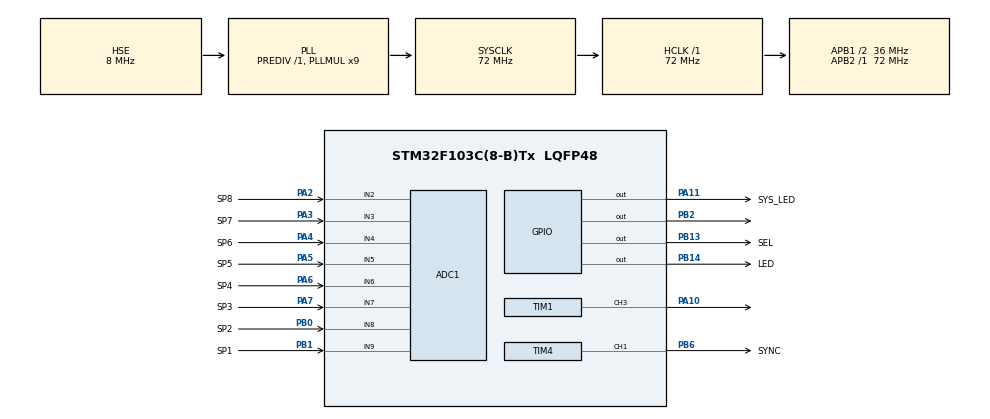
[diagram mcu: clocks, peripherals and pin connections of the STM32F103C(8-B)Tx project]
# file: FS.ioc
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ADC1.Channel-0\#ChannelRegularConversion=ADC_CHANNEL_2
ADC1.Channel-1\#ChannelRegularConversion=ADC_CHANNEL_3
ADC1.Channel-2\#ChannelRegularConversion=ADC_CHANNEL_4
ADC1.Channel-3\#ChannelRegularConversion=ADC_CHANNEL_5
ADC1.Channel-4\#ChannelRegularConversion=ADC_CHANNEL_6
ADC1.Channel-5\#ChannelRegularConversion=ADC_CHANNEL_7
ADC1.Channel-6\#ChannelRegularConversion=ADC_CHANNEL_8
ADC1.Channel-7\#ChannelRegularConversion=ADC_CHANNEL_9
ADC1.ContinuousConvMode=ENABLE
ADC1.NbrOfConversion=8
ADC1.NbrOfConversionFlag=1
ADC1.Rank-0\#ChannelRegularConversion=1
ADC1.Rank-1\#ChannelRegularConversion=2
ADC1.Rank-2\#ChannelRegularConversion=3
ADC1.Rank-3\#ChannelRegularConversion=4
ADC1.Rank-4\#ChannelRegularConversion=5
ADC1.Rank-5\#ChannelRegularConversion=6
ADC1.Rank-6\#ChannelRegularConversion=7
ADC1.Rank-7\#ChannelRegularConversion=8
ADC1.SamplingTime-0\#ChannelRegularConversion=ADC_SAMPLETIME_1CYCLE_5
ADC1.SamplingTime-1\#ChannelRegularConversion=ADC_SAMPLETIME_1CYCLE_5
ADC1.SamplingTime-2\#ChannelRegularConversion=ADC_SAMPLETIME_1CYCLE_5
ADC1.SamplingTime-3\#ChannelRegularConversion=ADC_SAMPLETIME_1CYCLE_5
ADC1.SamplingTime-4\#ChannelRegularConversion=ADC_SAMPLETIME_1CYCLE_5
ADC1.SamplingTime-5\#ChannelRegularConversion=ADC_SAMPLETIME_1CYCLE_5
ADC1.SamplingTime-6\#ChannelRegularConversion=ADC_SAMPLETIME_1CYCLE_5
ADC1.SamplingTime-7\#ChannelRegularConversion=ADC_SAMPLETIME_1CYCLE_5
ADC1.master=1
Mcu.Family=STM32F1
Mcu.Name=STM32F103C(8-B)Tx
Mcu.Package=LQFP48
NVIC.ADC1_2_IRQn=true\:0\:0\:false\:false\:true\:true\:true\:true
NVIC.PriorityGroup=NVIC_PRIORITYGROUP_4
NVIC.TIM4_IRQn=true\:0\:0\:false\:false\:true\:true\:true\:true
PA10.Signal=S_TIM1_CH3
PA11.GPIO_Label=SYS_LED
PA11.GPIO_PuPd=GPIO_NOPULL
PA11.GPIO_Speed=GPIO_SPEED_FREQ_MEDIUM
PA11.PinState=GPIO_PIN_SET
PA11.Signal=GPIO_Output
PA13.Mode=Serial_Wire
PA13.Signal=SYS_JTMS-SWDIO
PA14.Mode=Serial_Wire
PA14.Signal=SYS_JTCK-SWCLK
PA2.GPIO_Label=SP8
PA2.Signal=ADCx_IN2
PA3.GPIO_Label=SP7
PA3.Signal=ADCx_IN3
PA4.GPIO_Label=SP6
PA4.Signal=ADCx_IN4
PA5.GPIO_Label=SP5
PA5.Signal=ADCx_IN5
PA6.GPIO_Label=SP4
PA6.Signal=ADCx_IN6
PA7.GPIO_Label=SP3
PA7.Signal=ADCx_IN7
PB0.GPIO_Label=SP2
PB0.Signal=ADCx_IN8
PB1.GPIO_Label=SP1
PB1.Signal=ADCx_IN9
PB13.GPIO_Label=SEL
PB13.GPIO_Speed=GPIO_SPEED_FREQ_HIGH
PB13.Signal=GPIO_Output
PB14.GPIO_Label=LED
PB14.GPIO_Speed=GPIO_SPEED_FREQ_HIGH
PB14.PinState=GPIO_PIN_RESET
PB14.Signal=GPIO_Output
PB2.GPIO_ModeDefaultOutputPP=GPIO_MODE_OUTPUT_PP
PB2.GPIO_PuPd=GPIO_PULLUP
PB2.GPIO_Speed=GPIO_SPEED_FREQ_HIGH
PB2.PinState=GPIO_PIN_SET
PB2.Signal=GPIO_Output
PB6.GPIO_Label=SYNC
PB6.GPIO_Speed=GPIO_SPEED_FREQ_HIGH
PB6.Signal=S_TIM4_CH1
PD0-OSC_IN.Mode=HSE-External-Oscillator
PD0-OSC_IN.Signal=RCC_OSC_IN
PD1-OSC_OUT.Mode=HSE-External-Oscillator
PD1-OSC_OUT.Signal=RCC_OSC_OUT
ProjectManager.HeapSize=0x200
ProjectManager.StackSize=0x400
ProjectManager.TargetToolchain=MDK-ARM V5.32
RCC.ADCPresc=RCC_ADCPCLK2_DIV6
RCC.AHBFreq_Value=72000000
RCC.APB1CLKDivider=RCC_HCLK_DIV2
RCC.APB1Freq_Value=36000000
RCC.APB1TimFreq_Value=72000000
RCC.APB2Freq_Value=72000000
RCC.APB2TimFreq_Value=72000000
RCC.HCLKFreq_Value=72000000
RCC.PLLMUL=RCC_PLL_MUL9
RCC.PLLSourceVirtual=RCC_PLLSOURCE_HSE
RCC.SYSCLKFreq_VALUE=72000000
RCC.SYSCLKSource=RCC_SYSCLKSOURCE_PLLCLK
RCC.USBFreq_Value=72000000
SH.ADCx_IN2.0=ADC1_IN2,IN2
SH.ADCx_IN3.0=ADC1_IN3,IN3
SH.ADCx_IN4.0=ADC1_IN4,IN4
SH.ADCx_IN5.0=ADC1_IN5,IN5
SH.ADCx_IN6.0=ADC1_IN6,IN6
SH.ADCx_IN7.0=ADC1_IN7,IN7
SH.ADCx_IN8.0=ADC1_IN8,IN8
SH.ADCx_IN9.0=ADC1_IN9,IN9
SH.S_TIM1_CH3.0=TIM1_CH3,PWM Generation3 CH3
SH.S_TIM4_CH1.0=TIM4_CH1,PWM Generation1 CH1
TIM1.AutoReloadPreload=TIM_AUTORELOAD_PRELOAD_ENABLE
TIM1.Channel-PWM\ Generation3\ CH3=TIM_CHANNEL_3
TIM1.Period=5-1
TIM1.Prescaler=72-1
TIM4.AutoReloadPreload=TIM_AUTORELOAD_PRELOAD_ENABLE
TIM4.Channel-PWM\ Generation1\ CH1=TIM_CHANNEL_1
TIM4.Period=5-1
TIM4.Prescaler=72-1
TIM4.Pulse-PWM\ Generation1\ CH1=2
VP_TIM1_VS_ClockSourceINT.Mode=Internal
VP_TIM4_VS_ClockSourceINT.Mode=Internal
board=custom

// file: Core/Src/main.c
/* USER CODE BEGIN Header */
/**
  ******************************************************************************
  * @file           : main.c
  * @brief          : Main program body
  ******************************************************************************
  * @attention
  *
  * Copyright (c) 2024 STMicroelectronics.
  * All rights reserved.
  *
  * This software is licensed under terms that can be found in the LICENSE file
  * in the root directory of this software component.
  * If no LICENSE file comes with this software, it is provided AS-IS.
  *
  ******************************************************************************
  */
/* USER CODE END Header */
#include "main.h"
#include "adc.h"
#include "tim.h"
#include "gpio.h"

/* USER CODE BEGIN PD */
	uint16_t adcx[8];
	float temp[8];
	float sp[8];

/* USER CODE END PD */

void SystemClock_Config(void);

int main(void)
{

  /* USER CODE BEGIN 1 */
extern volatile uint16_t adc_value[8];

  /* USER CODE END 1 */

  /* MCU Configuration--------------------------------------------------------*/

  /* Reset of all peripherals, Initializes the Flash interface and the Systick. */
  HAL_Init();

  /* Configure the system clock */
  SystemClock_Config();

  /* USER CODE BEGIN SysInit */
	HAL_Delay_us_init(72);
  /* USER CODE END SysInit */

  /* Initialize all configured peripherals */
  MX_GPIO_Init();
  MX_TIM4_Init();
  MX_ADC1_Init();
  MX_TIM1_Init();
  /* USER CODE BEGIN 2 */

	HAL_TIM_PWM_Start(&htim4,TIM_CHANNEL_1);
	HAL_TIM_PWM_Start(&htim1,TIM_CHANNEL_3);
	HAL_TIM_Base_Start_IT(&htim4);

//	HAL_TIMEx_PWMN_Start_IT(&htim1,TIM_CHANNEL_3);

	HAL_ADCEx_Calibration_Start(&hadc1);
	HAL_ADC_Start(&hadc1);
  /* USER CODE END 2 */

  /* Infinite loop */
  /* USER CODE BEGIN WHILE */
  while (1)
  {
//		for(int i=0;i<8;i++){
//      switch (i)
//      {
//      case 0:
//        ch=ADC_CHANNEL_2;
//        break;
//      case 1:
//        ch=ADC_CHANNEL_3;
//        break;
//      case 2:
//        ch=ADC_CHANNEL_4;
//        break;
//      case 3:
//        ch=ADC_CHANNEL_5;
//        break;
//      case 4:
//        ch=ADC_CHANNEL_6;
//        break;
//      case 5:
//        ch=ADC_CHANNEL_7;
//        break;
//      case 6:
//        ch=ADC_CHANNEL_8;
//        break;
//      case 7:
//        ch=ADC_CHANNEL_9;
//        break;
//      default:
//        break;
//      }
//      adcx[i]=Get_Adc_Average(ch,20);
//      temp[i]=(float)adcx[i]*(3.3/4096);
//    }

    adcx[0]=Get_Adc_Average(ADC_CHANNEL_9,20);//获取通道1的转换值，20次取平均
		temp[0]=(float)adcx[0]*(3.3/4096);          //获取计算后的带小数的实际电压值，比如3.1111
		HAL_Delay(50);

    adcx[1]=Get_Adc_Average(ADC_CHANNEL_8,20);//获取通道1的转换值，20次取平均
		temp[1]=(float)adcx[1]*(3.3/4096);          //获取计算后的带小数的实际电压值，比如3.1111
		HAL_Delay(50);

    adcx[2]=Get_Adc_Average(ADC_CHANNEL_7,20);//获取通道1的转换值，20次取平均
		temp[2]=(float)adcx[2]*(3.3/4096);          //获取计算后的带小数的实际电压值，比如3.1111
		HAL_Delay(50);

    adcx[3]=Get_Adc_Average(ADC_CHANNEL_6,20);//获取通道1的转换值，20次取平均
		temp[3]=(float)adcx[3]*(3.3/4096);          //获取计算后的带小数的实际电压值，比如3.1111
		HAL_Delay(50);

    adcx[4]=Get_Adc_Average(ADC_CHANNEL_5,20);//获取通道1的转换值，20次取平均
		temp[4]=(float)adcx[4]*(3.3/4096);          //获取计算后的带小数的实际电压值，比如3.1111
		HAL_Delay(50);

    adcx[5]=Get_Adc_Average(ADC_CHANNEL_4,20);//获取通道1的转换值，20次取平均
		temp[5]=(float)adcx[5]*(3.3/4096);          //获取计算后的带小数的实际电压值，比如3.1111
		HAL_Delay(50);

    adcx[6]=Get_Adc_Average(ADC_CHANNEL_3,20);//获取通道1的转换值，20次取平均
		temp[6]=(float)adcx[6]*(3.3/4096);          //获取计算后的带小数的实际电压值，比如3.1111
		HAL_Delay(50);

    adcx[7]=Get_Adc_Average(ADC_CHANNEL_2,20);//获取通道1的转换值，20次取平均
		temp[7]=(float)adcx[7]*(3.3/4096);          //获取计算后的带小数的实际电压值，比如3.1111
		HAL_Delay(50);

////    adcx[7]=Get_Adc_Average(ADC_CHANNEL_9,20);//获取通道1的转换值，20次取平均
////		temp[7]=(float)adcx[7]*(3.3/4096);          //获取计算后的带小数的实际电压值，比如3.1111
////		HAL_Delay(50);
////    adcx[6]=Get_Adc_Average(ADC_CHANNEL_8,20);//获取通道1的转换值，20次取平均
////		temp[6]=(float)adcx[6]*(3.3/4096);          //获取计算后的带小数的实际电压值，比如3.1111
////		HAL_Delay(50);

////////		for(int i=0;i<8;i++)
////////      {
//////////          HAL_ADC_Start(&hadc1);
////////          HAL_ADC_PollForConversion(&hadc1,10);
////////          adc_value[i]=HAL_ADC_GetValue(&hadc1);
////////				sp[i] = (float)adc_value[i]*3.3/4096;
//////////				sp[i+1] = (float)adc_value[i]*3.3/4096;               ？？？why
////////      }
//      HAL_ADC_Stop(&hadc1);

	  /*SEL切换*/
//		HAL_Delay(500);
		HAL_GPIO_TogglePin(GPIOB,GPIO_PIN_13);
    /* USER CODE END WHILE */

  }
}

void SystemClock_Config(void)
{
  RCC_OscInitTypeDef RCC_OscInitStruct = {0};
  RCC_ClkInitTypeDef RCC_ClkInitStruct = {0};
  RCC_PeriphCLKInitTypeDef PeriphClkInit = {0};

  /** Initializes the RCC Oscillators according to the specified parameters
  * in the RCC_OscInitTypeDef structure.
  */
  RCC_OscInitStruct.OscillatorType = RCC_OSCILLATORTYPE_HSE;
  RCC_OscInitStruct.HSEState = RCC_HSE_ON;
  RCC_OscInitStruct.HSEPredivValue = RCC_HSE_PREDIV_DIV1;
  RCC_OscInitStruct.HSIState = RCC_HSI_ON;
  RCC_OscInitStruct.PLL.PLLState = RCC_PLL_ON;
  RCC_OscInitStruct.PLL.PLLSource = RCC_PLLSOURCE_HSE;
  RCC_OscInitStruct.PLL.PLLMUL = RCC_PLL_MUL9;
  if (HAL_RCC_OscConfig(&RCC_OscInitStruct) != HAL_OK)
  {
    Error_Handler();
  }

  /** Initializes the CPU, AHB and APB buses clocks
  */
  RCC_ClkInitStruct.ClockType = RCC_CLOCKTYPE_HCLK|RCC_CLOCKTYPE_SYSCLK
                              |RCC_CLOCKTYPE_PCLK1|RCC_CLOCKTYPE_PCLK2;
  RCC_ClkInitStruct.SYSCLKSource = RCC_SYSCLKSOURCE_PLLCLK;
  RCC_ClkInitStruct.AHBCLKDivider = RCC_SYSCLK_DIV1;
  RCC_ClkInitStruct.APB1CLKDivider = RCC_HCLK_DIV2;
  RCC_ClkInitStruct.APB2CLKDivider = RCC_HCLK_DIV1;

  if (HAL_RCC_ClockConfig(&RCC_ClkInitStruct, FLASH_LATENCY_2) != HAL_OK)
  {
    Error_Handler();
  }
  PeriphClkInit.PeriphClockSelection = RCC_PERIPHCLK_ADC;
  PeriphClkInit.AdcClockSelection = RCC_ADCPCLK2_DIV6;
  if (HAL_RCCEx_PeriphCLKConfig(&PeriphClkInit) != HAL_OK)
  {
    Error_Handler();
  }
}

void Error_Handler(void)
{
  __disable_irq();
  while (1)
  {
  }
}
